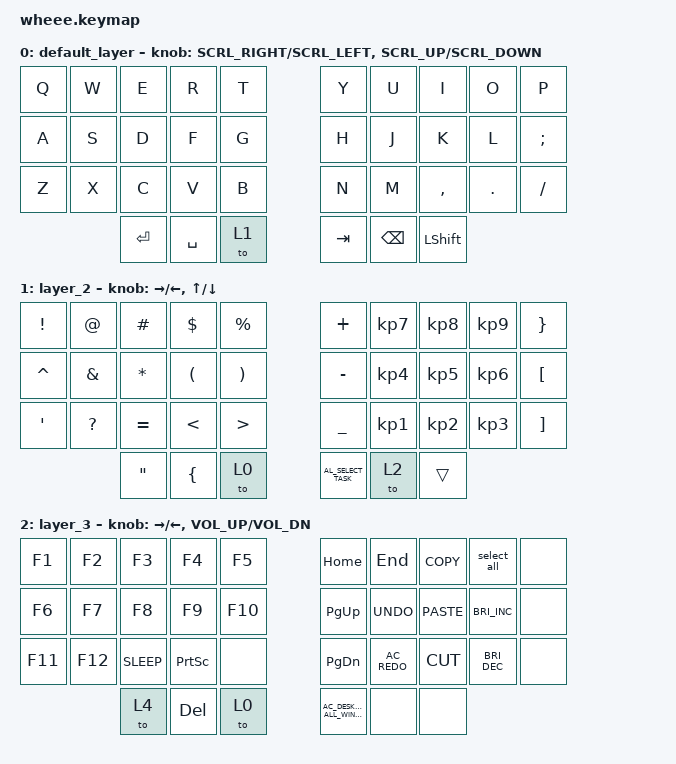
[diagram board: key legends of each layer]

/*
 * Copyright (c) 2020 The ZMK Contributors
 *
 * SPDX-License-Identifier: MIT
 */

#include <behaviors.dtsi>
#include <dt-bindings/zmk/keys.h>
#include <dt-bindings/zmk/bt.h>
#include <dt-bindings/zmk/pointing.h>

/ {
        macros {
                select_all: select_all {
                        compatible = "zmk,behavior-macro";
                        #binding-cells = <0>;
                        bindings
                                = <&macro_press &kp LCTRL>
                                , <&macro_tap &kp A>
                                , <&macro_release &kp LCTRL>
                                ;
                };
        };
        behaviors {
                rot_msc: sensor_rotate_msc {
                        compatible = "zmk,behavior-sensor-rotate-var";
                        #sensor-binding-cells = <2>;
                        tap-ms = <50>;
                        bindings = <&msc>, <&msc>;
                };
        };
        keymap {
                compatible = "zmk,keymap";

                default_layer {
                        bindings = <
   &kp Q &kp W &kp E &kp R &kp T   &kp Y &kp U  &kp I &kp O &kp P
   &kp A &kp S &kp D &kp F &kp G   &kp H &kp J  &kp K &kp L &kp SEMI
   &kp Z &kp X &kp C &kp V &kp B   &kp N &kp M  &kp COMMA &kp DOT &kp FSLH
                  &kp RET &kp SPACE &to 1   &kp TAB &kp BACKSPACE &kp LSHFT
                        >;
                        sensor-bindings = <&rot_msc SCRL_RIGHT SCRL_LEFT &rot_msc SCRL_UP SCRL_DOWN>;
                };
                layer_2 {
                        bindings = <
   &kp EXCL &kp AT &kp HASH &kp DLLR &kp PRCNT        &kp PLUS &kp KP_N7 &kp KP_N8 &kp KP_N9 &kp RBRC
   &kp CARET &kp AMPS &kp ASTRK &kp LPAR &kp RPAR     &kp MINUS &kp KP_N4 &kp KP_N5 &kp KP_N6 &kp LBKT
   &kp APOS &kp QMARK &kp EQUAL &kp LT &kp GT         &kp UNDER &kp KP_N1 &kp KP_N2 &kp KP_N3 &kp RBKT
                        &kp DQT &kp LBRC &to 0         &kp C_AL_SELECT_TASK &to 2 &trans      
                        >;
                        sensor-bindings = <&inc_dec_kp RIGHT LEFT &inc_dec_kp UP DOWN>;
                };

                layer_3 {
                        bindings = <&kp F1 &kp F2 &kp F3 &kp F4 &kp F5                 &kp HOME &kp END &kp K_COPY &select_all &none
                                    &kp F6 &kp F7 &kp F8 &kp F9 &kp F10                &kp PG_UP &kp K_UNDO &kp K_PASTE &kp C_BRI_INC &none
                                    &kp F11 &kp F12 &kp K_SLEEP &kp PSCRN &none        &kp PG_DN &kp C_AC_REDO &kp K_CUT &kp C_BRI_DEC &none
                                                  &to 4 &kp DEL &to 0                  &kp C_AC_DESKTOP_SHOW_ALL_WINDOWS &none &none
                        >;
                        sensor-bindings = <&inc_dec_kp RIGHT LEFT &inc_dec_kp C_VOL_UP C_VOL_DN>;
                };
        };
};
